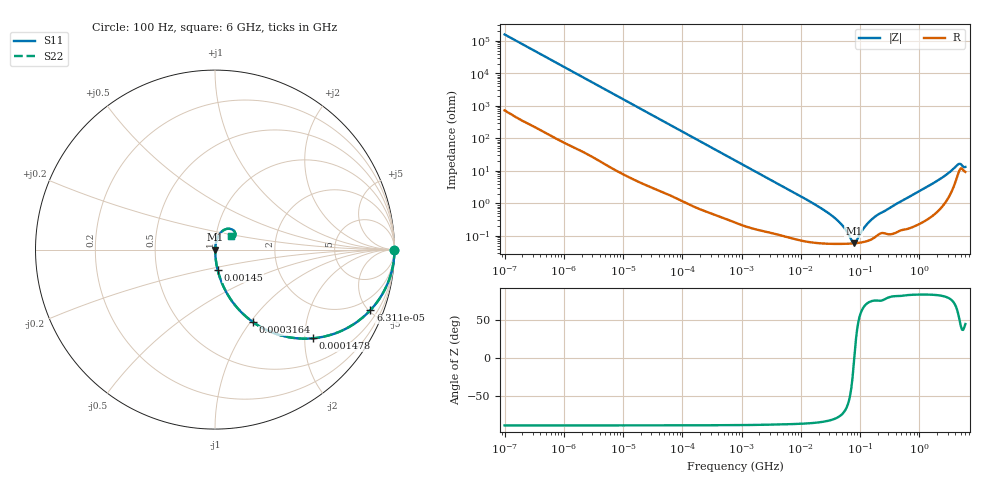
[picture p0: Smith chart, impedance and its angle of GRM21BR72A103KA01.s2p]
!Murata Part Number: GRM21BR72A103KA01
!These Parameters are Measured in Series Mode Connection
!Data Generated on Mar 30, 2021
!  o--ll--o
!Port1  Port2
!  o------o
!Operation Temp=25[degC], DC Bias Voltage=0[V]
!Freq. Start=100[Hz] Stop=6[GHz] 401[Steps]
# Hz S RI R 50
!Freq.(Hz) S11(Real) S11(Imag) S21(Real) S21(Imag) S12(Real) S12(Imag) S22(Real) S22(Imag)
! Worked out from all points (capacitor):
!   401 points, 100 Hz to 6 GHz, reference 50 ohm
!   read as one part in series: C = 10 nF near 109 Hz
!   lowest |Z| = 59.5 mohm at 77.97 MHz (marker M1)
!   series resonance near 79.89 MHz, so ESL is about 400 pH
!   S11 on the Smith chart (normalised r, x): 100 Hz: open; 63.12 kHz: 1.03, -5.12; 147.8 kHz: 1.02, -2.20; 316.4 kHz: 1.01, -1.03; 1.45 MHz: 1.00, -0.23; 6 GHz: 1.19, +0.19
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100  1 -0.000631  3.3e-06 0.000631  3.3e-06 0.000631  1 -0.000631
2008  0.9998 -0.0126  0.000221 0.0126  0.000221 0.0126  0.9998 -0.0126
12041  0.9941 -0.0744  0.00594 0.0744  0.00594 0.0744  0.9941 -0.0744
40335  0.9399 -0.2346  0.0601 0.2346  0.0601 0.2346  0.9399 -0.2346
63115  0.8661 -0.3372  0.1339 0.3372  0.1339 0.3372  0.8661 -0.3372
147774  0.5463 -0.4941  0.4537 0.4941  0.4537 0.4941  0.5463 -0.4941
316350  0.2116 -0.4038  0.7884 0.4038  0.7884 0.4038  0.2116 -0.4038
774597  0.045 -0.2013  0.955 0.2013  0.955 0.2013  0.045 -0.2013
1449809  0.0143 -0.1114  0.9857 0.1114  0.9857 0.1114  0.0143 -0.1114
1.555665e7  0.000731 -0.0104  0.9993 0.0104  0.9993 0.0104  0.000731 -0.0104
4.165952e7  0.000572 -0.00294  0.9994 0.00294  0.9994 0.00294  0.000572 -0.00294
5.449875e7  0.00057 -0.00165  0.9994 0.00165  0.9994 0.00165  0.00057 -0.00165
7.129496e7  0.00058 -0.00048  0.9994 0.00048  0.9994 0.00048  0.00058 -0.00048
7.797396e7  0.000586 -0.000102  0.9994 0.000102  0.9994 0.000102  0.000586 -0.000102
8.527865e7  0.000595 0.000276  0.9994 -0.000276  0.9994 -0.000276  0.000595 0.000276
1.166697e8  0.000653 0.00164  0.9993 -0.00164  0.9993 -0.00164  0.000653 0.00164
1.526266e8  0.000773 0.00294  0.9992 -0.00294  0.9992 -0.00294  0.000773 0.00294
3.124326e8  0.00116 0.00701  0.9988 -0.00701  0.9988 -0.00701  0.00116 0.00701
2.048624e9  0.00811 0.0497  0.9919 -0.0497  0.9919 -0.0497  0.00811 0.0497
4.385646e9  0.0789 0.1166  0.9211 -0.1166  0.9211 -0.1166  0.0789 0.1166
4.796499e9  0.1083 0.1025  0.8917 -0.1025  0.8917 -0.1025  0.1083 0.1025
6e9  0.0919 0.0782  0.9081 -0.0782  0.9081 -0.0782  0.0919 0.0782
